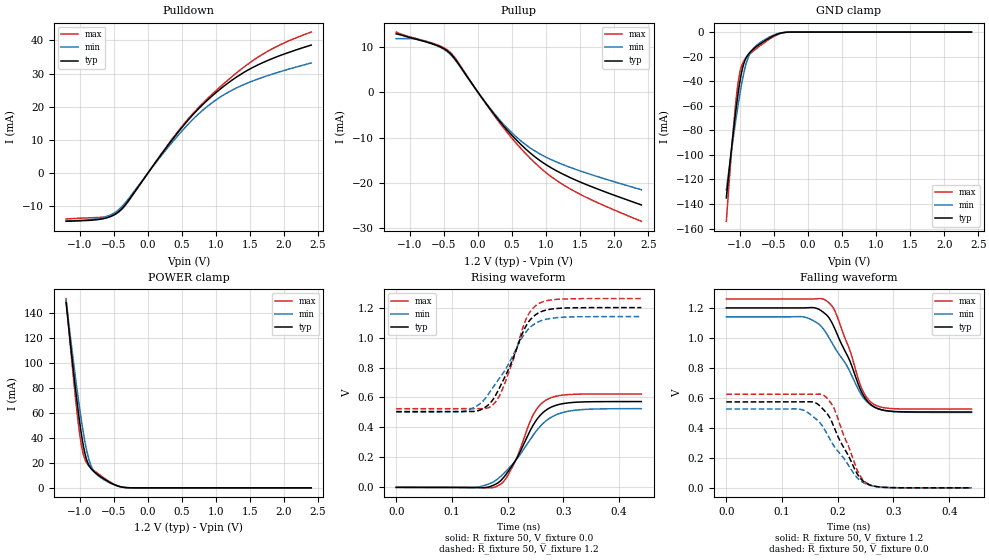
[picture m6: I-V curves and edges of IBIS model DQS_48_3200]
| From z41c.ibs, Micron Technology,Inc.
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| MODEL DQS_48_3200 (48 Ohm Data Strobe I/O with no ODT, 1600-3200Mbps)
[Model]   DQS_48_3200
Model_type   I/O
Vinl = 905.000mV
Vinh = 1015.000mV
Vmeas = 960.000mV
Vref = 1200.000mV
Cref = 0.0pF
Rref = 50.000Ohm
|   typ   min   max
|C_comp   0.690pF   0.640pF   0.740pF
C_comp_pullup   0.345pF   0.320pF   0.370pF
C_comp_pulldown   0.345pF   0.320pF   0.370pF
[Model Spec]
| Timing spec test load voltage corners
Vref   1.2000V   1.1400V   1.2600V
| Dynamic Overshoot Parameters from DDR4 Specification
|D_overshoot_ampl_h   0.40   NA   NA
|D_overshoot_ampl_l   0.40   NA   NA
|D_overshoot_area_h   0.0800n   NA   NA
|D_overshoot_area_l   0.0800n   NA   NA
[Voltage Range]   1.2000V   1.1400V   1.2600V
| Junction Temperature (Ambient temp is 35C typ, 95C min, 0C max)
[Temperature Range]   50.0   110.0   0.0
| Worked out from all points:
|   slope of the pulldown table from 0 to 0.18 V, typ, clamps not added: 34.9 ohm
|   slope of the pullup table from 0 to 0.18 V, typ, clamps not added: 48.5 ohm
|   GND clamp passes 1 mA (typ) near -0.41 V on its own axis
|   POWER clamp passes 1 mA (typ) near -0.41 V on its own axis
|   rising waveform, R_fixture 50, V_fixture 0.0: 20-80 % time 50.8ps typ, 65.5ps min, 41.2ps max; typ from 0 V to 0.573 V
|   rising waveform, R_fixture 50, V_fixture 1.2: 20-80 % time 47.9ps typ, 61.2ps min, 39.3ps max; typ from 0.506 V to 1.2 V
|   falling waveform, R_fixture 50, V_fixture 1.2: 20-80 % time 47.3ps typ, 58.2ps min, 40ps max; typ from 1.2 V to 0.506 V
|   falling waveform, R_fixture 50, V_fixture 0.0: 20-80 % time 44.7ps typ, 56.1ps min, 37.3ps max; typ from 0.573 V to 0 V
[Pulldown]
|   Voltage   I(typ)   I(min)   I(max)
-1.2V     -14.47mA   -14.37mA   -13.77mA
-684mV    -13.8mA    -13.45mA   -13.25mA
-531mV    -12.91mA   -12.39mA   -12.68mA
-417mV    -11.42mA   -10.79mA   -11.47mA
-285mV    -8.275mA   -7.74mA    -8.452mA
456mV     12.61mA    11.65mA    12.93mA
690mV     18.21mA    16.76mA    18.57mA
927mV     22.94mA    20.95mA    23.44mA
1.296V    28.84mA    25.59mA    30.07mA
1.62V     32.63mA    28.37mA    34.96mA
1.965V    35.58mA    30.68mA    38.86mA
2.4V      38.57mA    33.18mA    42.49mA
[GND Clamp]
|   Voltage   I(typ)   I(min)   I(max)
-1.2V     -135.1mA   -128.5mA   -154.1mA
-1.137V   -101.4mA   -102mA     -106.5mA
-1.089V   -77.28mA   -82.64mA   -73.73mA
-1.041V   -55.58mA   -64.4mA    -47.21mA
-1.008V   -42.78mA   -52.78mA   -34.7mA
-957mV    -28.31mA   -37.03mA   -24.93mA
-897mV    -19.77mA   -23.54mA   -20.09mA
-837mV    -15.56mA   -16.04mA   -16.95mA
-747mV    -11.38mA   -10.4mA    -12.96mA
-516mV    -3.321mA   -2.756mA   -4.044mA
-309mV    -145.9uA   -129.9uA   -180.1uA
2.4V      0A         0A         0A
[Pullup]
|   Voltage   I(typ)   I(min)   I(max)
-1.2V     12.87mA    11.81mA    13.26mA
-933mV    11.79mA    11.78mA    11.93mA
-777mV    11.15mA    11.18mA    11.31mA
-543mV    9.921mA    9.835mA    10.11mA
-414mV    8.641mA    8.445mA    8.899mA
-309mV    6.77mA     6.589mA    7.004mA
330mV     -6.591mA   -6.278mA   -6.952mA
576mV     -10.69mA   -10.01mA   -11.47mA
846mV     -14.33mA   -13.03mA   -15.69mA
1.101V    -16.87mA   -15.01mA   -18.86mA
1.416V    -19.22mA   -16.89mA   -21.8mA
2.4V      -24.82mA   -21.49mA   -28.42mA
[POWER Clamp]
|   Voltage   I(typ)   I(min)   I(max)
-1.2V     148.2mA    149.9mA    151.3mA
-1.116V   105.2mA    111.5mA    101.4mA
-1.053V   75.08mA    84.33mA    67.11mA
-1.008V   55.53mA    66.16mA    46.16mA
-966mV    39.78mA    50.59mA    31.46mA
-918mV    26.3mA     35.26mA    22.11mA
-864mV    17.95mA    22.53mA    17.5mA
-810mV    13.93mA    15.03mA    14.73mA
-711mV    9.565mA    8.918mA    10.53mA
-483mV    2.351mA    2.202mA    2.602mA
-306mV    137.7uA    175.6uA    129.3uA
2.4V      0A         0A         0A
[Ramp]
|   typ   min   max
| 20% - 80%
dV/dt_r   343.69m/50.82p   315.30m/65.46p   374.30m/41.23p
dV/dt_f   416.46m/47.32p   382.30m/58.27p   440.98m/40.07p
| Slew rate: Power terminated
|SR_r[V/ns]   8.69   6.25   11.21
|SR_f[V/ns]   8.80   6.56   11.01
| 25% - 75%
|dV/dt_r   286.41m/40.21p   262.75m/52.11p   311.92m/32.54p
|dV/dt_f   347.05m/39.26p   318.59m/48.62p   367.48m/32.98p
| Slew rate: Power terminated
|SR_r[V/ns]   8.92   6.35   11.55
|SR_f[V/ns]   8.84   6.55   11.14
R_load = 50
[Rising Waveform]
R_fixture = 50
V_fixture = 0.0
|   Time   V(typ)   V(min)   V(max)
0s        8.552uV    18.74uV    5.783uV
139ps     -917.9uV   -1.827mV   97.92uV
178ps     20.17mV    44.85mV    3.124mV
200ps     101.2mV    119.2mV    77.68mV
217ps     197.9mV    192mV      201.9mV
245ps     410.5mV    344.6mV    477.7mV
268ps     513.2mV    441.4mV    580.7mV
290ps     551.4mV    489mV      610.8mV
319ps     567.4mV    514mV      621.2mV
440ps     572.8mV    525.5mV    623.8mV
[Rising Waveform]
R_fixture   = 50
V_fixture   = 1.2
V_fixture_min = 1.14
V_fixture_max = 1.26
|   Time   V(typ)   V(min)   V(max)
0s        505.9mV    502.8mV    525mV
123ps     505.8mV    508.4mV    525mV
151ps     516.8mV    560.1mV    524.8mV
171ps     572.8mV    652.8mV    542.9mV
191ps     706.6mV    757.6mV    657.4mV
234ps     1.084V     1.043V     1.131V
244ps     1.133V     1.08V      1.19V
258ps     1.169V     1.109V     1.231V
295ps     1.196V     1.135V     1.257V
440ps     1.2V       1.14V      1.26V
[Falling Waveform]
R_fixture   = 50
V_fixture   = 1.2
V_fixture_min = 1.14
V_fixture_max = 1.26
|   Time   V(typ)   V(min)   V(max)
0s        1.2V       1.14V      1.26V
139ps     1.2V       1.14V      1.26V
158ps     1.201V     1.111V     1.26V
176ps     1.165V     1.051V     1.256V
196ps     1.05V      926.2mV    1.17V
222ps     843.6mV    773.6mV    914.3mV
242ps     644.8mV    623.1mV    671.5mV
261ps     550.3mV    547.9mV    566.8mV
300ps     509.5mV    508.2mV    527.7mV
440ps     505.9mV    502.8mV    525mV
[Falling Waveform]
R_fixture = 50
V_fixture = 0.0
|   Time   V(typ)   V(min)   V(max)
0s        572.8mV    525.6mV    623.8mV
133ps     572.9mV    523.3mV    623.9mV
158ps     570mV      468.2mV    624.3mV
173ps     527.2mV    409.1mV    620.9mV
184ps     478.1mV    336.2mV    583.6mV
193ps     407.9mV    280mV      532.9mV
235ps     92.89mV    66.92mV    116.6mV
253ps     26.66mV    22.62mV    29.17mV
289ps     2.132mV    2.559mV    1.718mV
440ps     8.61uV     18.91uV    5.793uV
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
